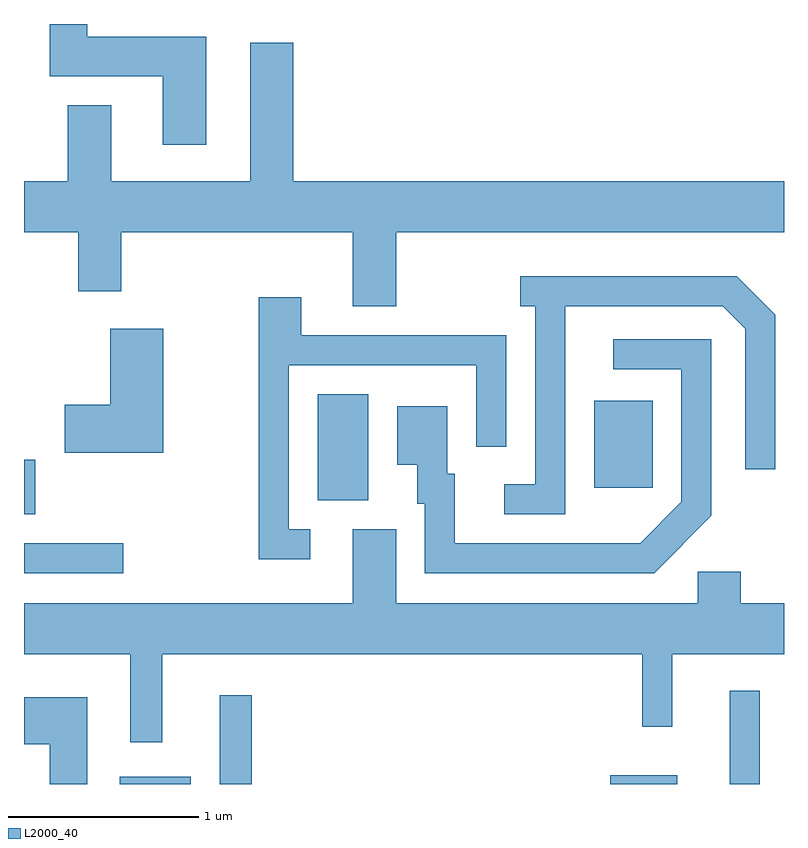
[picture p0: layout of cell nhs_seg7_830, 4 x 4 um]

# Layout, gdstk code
import gdstk
lib = gdstk.Library(unit=1e-6, precision=1e-09)
def R(c, l, rs):  # rectangles x0, y0, x1, y1
    for r in rs: c.add(gdstk.rectangle(r[:2], r[2:], *l))
def P(c, l, *ps):  # polygons
    for p in ps: c.add(gdstk.Polygon(p, *l))
L2000_40 = (2000, 40)

nhs_seg7_830 = lib.new_cell('nhs_seg7_830')
R(nhs_seg7_830, L2000_40, [(210.116,1760.252,210.489,1760.289), (210.641,1760.252,210.809,1760.718), (212.696,1760.252,213.049,1760.299), (213.326,1760.252,213.484,1760.743), (209.611,1761.361,210.133,1761.519), (209.611,1761.671,209.669,1761.959), (211.156,1761.746,211.424,1762.304), (212.611,1761.811,212.919,1762.269)])
P(nhs_seg7_830, L2000_40, [(210.569,1764.184),(209.944,1764.184),(209.944,1764.252),(209.746,1764.252),(209.746,1763.976),(210.341,1763.976),(210.341,1763.616),(210.569,1763.616)],
  [(211.569,1763.156),(213.611,1763.156),(213.611,1763.424),(211.029,1763.424),(211.029,1764.154),(210.801,1764.154),(210.801,1763.424),(210.069,1763.424),(210.069,1763.824),(209.841,1763.824),(209.841,1763.424),(209.611,1763.424),(209.611,1763.156),(209.896,1763.156),(209.896,1762.846),(210.124,1762.846),(210.124,1763.156),(211.341,1763.156),(211.341,1762.766),(211.569,1762.766)],
  [(212.459,1762.766),(213.289,1762.766),(213.406,1762.649),(213.406,1761.908),(213.564,1761.908),(213.564,1762.722),(213.362,1762.924),(212.223,1762.924),(212.223,1762.766),(212.301,1762.766),(212.301,1761.829),(212.138,1761.829),(212.138,1761.671),(212.459,1761.671)],
  [(211.118,1761.594),(211.004,1761.594),(211.004,1762.456),(211.991,1762.456),(211.991,1762.028),(212.149,1762.028),(212.149,1762.614),(211.069,1762.614),(211.069,1762.814),(210.846,1762.814),(210.846,1761.436),(211.118,1761.436)],
  [(210.344,1762.649),(210.066,1762.649),(210.066,1762.249),(209.826,1762.249),(209.826,1761.996),(210.344,1761.996)],
  [(213.229,1761.664),(213.229,1762.594),(212.713,1762.594),(212.713,1762.436),(213.071,1762.436),(213.071,1761.737),(212.854,1761.519),(211.879,1761.519),(211.879,1761.884),(211.839,1761.884),(211.839,1762.239),(211.576,1762.239),(211.576,1761.931),(211.681,1761.931),(211.681,1761.726),(211.721,1761.726),(211.721,1761.361),(212.927,1761.361)],
  [(210.339,1760.936),(212.866,1760.936),(212.866,1760.553),(213.024,1760.553),(213.024,1760.936),(213.611,1760.936),(213.611,1761.204),(213.384,1761.204),(213.384,1761.369),(213.156,1761.369),(213.156,1761.204),(211.569,1761.204),(211.569,1761.594),(211.341,1761.594),(211.341,1761.204),(209.611,1761.204),(209.611,1760.936),(210.171,1760.936),(210.171,1760.473),(210.339,1760.473)],
  [(209.944,1760.709),(209.611,1760.709),(209.611,1760.461),(209.746,1760.461),(209.746,1760.252),(209.944,1760.252)])

lib.write_gds('nhs_seg7_830.gds')
